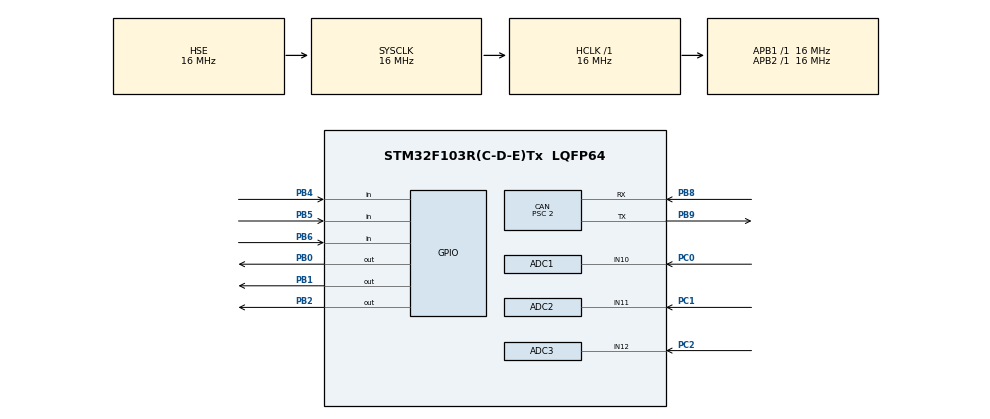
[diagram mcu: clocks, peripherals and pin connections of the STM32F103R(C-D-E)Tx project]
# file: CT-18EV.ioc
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ADC1.Channel-0\#ChannelRegularConversion=ADC_CHANNEL_10
ADC1.Mode=ADC_DUALMODE_REGSIMULT
ADC1.NbrOfConversionFlag=1
ADC1.Rank-0\#ChannelRegularConversion=1
ADC1.SamplingTime-0\#ChannelRegularConversion=ADC_SAMPLETIME_55CYCLES_5
ADC1.master=1
ADC2.Channel-0\#ChannelRegularConversion=ADC_CHANNEL_11
ADC2.Mode=ADC_DUALMODE_REGSIMULT
ADC2.NbrOfConversionFlag=1
ADC2.Rank-0\#ChannelRegularConversion=1
ADC2.SamplingTime-0\#ChannelRegularConversion=ADC_SAMPLETIME_55CYCLES_5
ADC3.Channel-0\#ChannelRegularConversion=ADC_CHANNEL_12
ADC3.NbrOfConversion=1
ADC3.NbrOfConversionFlag=1
ADC3.Rank-0\#ChannelRegularConversion=1
ADC3.SamplingTime-0\#ChannelRegularConversion=ADC_SAMPLETIME_55CYCLES_5
CAN.ABOM=ENABLE
CAN.AWUM=ENABLE
CAN.BS1=CAN_BS1_13TQ
CAN.BS2=CAN_BS2_2TQ
CAN.CalculateBaudRate=500000
CAN.CalculateTimeBit=2000
CAN.CalculateTimeQuantum=125.0
CAN.Prescaler=2
Dma.ADC1.0.Direction=DMA_PERIPH_TO_MEMORY
Dma.ADC1.0.Instance=DMA1_Channel1
Dma.ADC1.0.MemDataAlignment=DMA_MDATAALIGN_WORD
Dma.ADC1.0.MemInc=DMA_MINC_ENABLE
Dma.ADC1.0.Mode=DMA_NORMAL
Dma.ADC1.0.PeriphDataAlignment=DMA_PDATAALIGN_WORD
Dma.ADC1.0.PeriphInc=DMA_PINC_DISABLE
Dma.ADC1.0.Priority=DMA_PRIORITY_LOW
Dma.ADC3.1.Direction=DMA_PERIPH_TO_MEMORY
Dma.ADC3.1.Instance=DMA2_Channel5
Dma.ADC3.1.MemDataAlignment=DMA_MDATAALIGN_HALFWORD
Dma.ADC3.1.MemInc=DMA_MINC_ENABLE
Dma.ADC3.1.Mode=DMA_NORMAL
Dma.ADC3.1.PeriphDataAlignment=DMA_PDATAALIGN_HALFWORD
Dma.ADC3.1.PeriphInc=DMA_PINC_DISABLE
Dma.ADC3.1.Priority=DMA_PRIORITY_LOW
Dma.Request0=ADC1
Dma.Request1=ADC3
IWDG.Prescaler=IWDG_PRESCALER_32
IWDG.Reload=125
Mcu.Family=STM32F1
Mcu.Name=STM32F103R(C-D-E)Tx
Mcu.Package=LQFP64
NVIC.DMA1_Channel1_IRQn=true\:0\:0\:false\:false\:true\:false\:true\:true
NVIC.DMA2_Channel4_5_IRQn=true\:0\:0\:false\:false\:true\:false\:true\:true
NVIC.PriorityGroup=NVIC_PRIORITYGROUP_4
NVIC.TIM2_IRQn=true\:0\:0\:false\:false\:true\:true\:true\:true
NVIC.TIM3_IRQn=true\:0\:0\:false\:false\:true\:true\:true\:true
NVIC.USB_LP_CAN1_RX0_IRQn=true\:0\:0\:false\:false\:true\:true\:true\:true
PA13.Mode=Serial_Wire
PA13.Signal=SYS_JTMS-SWDIO
PA14.Mode=Serial_Wire
PA14.Signal=SYS_JTCK-SWCLK
PB0.GPIO_PuPd=GPIO_PULLDOWN
PB0.Signal=GPIO_Output
PB1.Signal=GPIO_Output
PB2.Signal=GPIO_Output
PB4.Signal=GPIO_Input
PB5.Signal=GPIO_Input
PB6.Signal=GPIO_Input
PB8.Mode=CAN_Activate
PB8.Signal=CAN_RX
PB9.Mode=CAN_Activate
PB9.Signal=CAN_TX
PC0.Signal=ADCx_IN10
PC1.Signal=ADCx_IN11
PC2.Signal=ADCx_IN12
PD0-OSC_IN.Mode=HSE-External-Oscillator
PD0-OSC_IN.Signal=RCC_OSC_IN
PD1-OSC_OUT.Mode=HSE-External-Oscillator
PD1-OSC_OUT.Signal=RCC_OSC_OUT
ProjectManager.HeapSize=0x200
ProjectManager.StackSize=0x400
ProjectManager.TargetToolchain=STM32CubeIDE
RCC.AHBFreq_Value=16000000
RCC.APB1Freq_Value=16000000
RCC.APB1TimFreq_Value=16000000
RCC.APB2Freq_Value=16000000
RCC.APB2TimFreq_Value=16000000
RCC.HCLKFreq_Value=16000000
RCC.HSE_VALUE=16000000
RCC.PLLMUL=RCC_PLL_MUL3
RCC.SYSCLKFreq_VALUE=16000000
RCC.SYSCLKSource=RCC_SYSCLKSOURCE_HSE
RCC.USBFreq_Value=12000000
SH.ADCx_IN10.0=ADC1_IN10,IN10
SH.ADCx_IN11.0=ADC2_IN11,IN11
SH.ADCx_IN12.0=ADC3_IN12,IN12
TIM2.ClockDivision=TIM_CLOCKDIVISION_DIV1
TIM2.Period=4999
TIM2.Prescaler=15
TIM3.ClockDivision=TIM_CLOCKDIVISION_DIV1
TIM3.Period=14399
TIM3.Prescaler=99
VP_IWDG_VS_IWDG.Mode=IWDG_Activate
VP_TIM2_VS_ClockSourceINT.Mode=Internal
VP_TIM3_VS_ClockSourceINT.Mode=Internal
board=custom

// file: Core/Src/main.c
/* USER CODE BEGIN Header */
/**
 ******************************************************************************
 * @file           : main.c
 * @brief          : Main program body
 ******************************************************************************
 * @attention
 *
 * Copyright (c) 2024 STMicroelectronics.
 * All rights reserved.
 *
 * This software is licensed under terms that can be found in the LICENSE file
 * in the root directory of this software component.
 * If no LICENSE file comes with this software, it is provided AS-IS.
 *
 ******************************************************************************
 */
/* USER CODE END Header */
#include "main.h"

/* USER CODE BEGIN Includes */
#include <math.h>

#include "config.h"
#include "pinout.h"
#include "adc.h"
#include "can_tx.h"
#include "rtd.h"
#include "assists/launch_control.h"
#include "regen.h"
#include "soc_kf.h"
#include "soc_derate.h"
#include "control.h"
#include "version.h"

#include "sensors/aim_accelerometer.h"
#include "sensors/resolver_feedback.h"
#include "sensors/speed_encoder.h"
/* USER CODE END Includes */

ADC_HandleTypeDef hadc1;
ADC_HandleTypeDef hadc2;
ADC_HandleTypeDef hadc3;
DMA_HandleTypeDef hdma_adc1;
DMA_HandleTypeDef hdma_adc3;

CAN_HandleTypeDef hcan;

IWDG_HandleTypeDef hiwdg;

TIM_HandleTypeDef htim2;
TIM_HandleTypeDef htim3;

void SystemClock_Config(void);
static void MX_GPIO_Init(void);
static void MX_DMA_Init(void);
static void MX_ADC1_Init(void);
static void MX_CAN_Init(void);
static void MX_TIM2_Init(void);
static void MX_TIM3_Init(void);
static void MX_ADC2_Init(void);
static void MX_ADC3_Init(void);
static void MX_IWDG_Init(void);

/* USER CODE BEGIN 0 */
#define CAP(v, hi)       (((v) > (hi)) ? (hi) : (v))
#define CLAMP(v, lo, hi) (((v) < (lo)) ? (lo) : CAP(v, hi))

CAN_RxHeaderTypeDef RxHeader;
uint8_t RxData[8];

volatile uint32_t motor_speed = 0;
volatile uint32_t motor_speed_tick = 0;
volatile uint32_t current_limit = CURRENT_LIMIT_DEFAULT_A;
volatile uint32_t bms_dcl = CURRENT_LIMIT_DEFAULT_A;
volatile uint8_t inverter_enabled = 0;
volatile uint8_t inverter_lockout = 1;
volatile uint8_t control_ready = 0;
volatile uint8_t print_ready = 0;
volatile uint8_t ready_to_drive = 0;
volatile uint16_t rtd_timeout = RTD_TIMEOUT_INIT;
volatile uint8_t rtd_buzzer_counter = 0;

volatile uint32_t bus_voltage = BUS_VOLTAGE_DEFAULT_V;
volatile uint8_t inv_message = 0;
volatile uint16_t ext_frame_count = 0;

/* Worst control loop period (ms) */
volatile uint32_t loop_dt_max_ms = 0;

static uint8_t lc_was_enabled = 0;
static control_t ctrl;
static uint8_t reset_cause = 0;

/* Sensors */
aim_accelerometer_t aim_accelerometer;
resolver_feedback_t resolver_feedback;
speed_encoder_t encoder_left;
speed_encoder_t encoder_right;

static uint8_t read_reset_cause(void) {
	uint8_t cause = 0;
	if (__HAL_RCC_GET_FLAG(RCC_FLAG_PINRST)) {
		cause |= RESET_CAUSE_PIN;
	}
	if (__HAL_RCC_GET_FLAG(RCC_FLAG_PORRST)) {
		cause |= RESET_CAUSE_POR;
	}
	if (__HAL_RCC_GET_FLAG(RCC_FLAG_SFTRST)) {
		cause |= RESET_CAUSE_SOFT;
	}
	if (__HAL_RCC_GET_FLAG(RCC_FLAG_IWDGRST)) {
		cause |= RESET_CAUSE_IWDG;
	}
	/* Flags are sticky until cleared, so the next reset reads fresh */
	__HAL_RCC_CLEAR_RESET_FLAGS();
	return cause;
}

void HAL_CAN_RxFifo0MsgPendingCallback(CAN_HandleTypeDef *hcan) {
	RxHeader.StdId = 0;
	if (HAL_CAN_GetRxMessage(hcan, CAN_RX_FIFO0, &RxHeader, RxData) != HAL_OK) {
		return;
	}
	if (RxHeader.IDE != CAN_ID_STD) {
		ext_frame_count++;
		return;
	}

	if (RxHeader.StdId == CAN_ID_RX_INVERTER_STATE) {
		inverter_enabled = RxData[6] & 0x01;
		inverter_lockout = (RxData[6] >> 7) & 0x01;
		uint8_t ready_pin_state = (RxData[3] >> 1) & 0x01;
		inv_message = RxData[6];
		if (ready_pin_state) {
			rtd_timeout = 0;
		}
	} else if (RxHeader.StdId == CAN_ID_RX_MOTOR_SPEED) {
		int16_t motor_speed_raw = (int16_t) (uint16_t) (RxData[3] << 8
				| RxData[2]);

		resolver_feedback_feed(&resolver_feedback, motor_speed_raw);
		motor_speed = (motor_speed_raw > 0) ? (uint32_t) motor_speed_raw : 0u;
		motor_speed_tick = HAL_GetTick();
	} else if (RxHeader.StdId == CAN_ID_RX_BMS_DCL) {
		uint16_t dcl_raw = (uint16_t) (RxData[1] << 8 | RxData[0]);
		bms_dcl = (dcl_raw > 3u) ? (uint32_t) (dcl_raw - 3u) : 0u;
	} else if (RxHeader.StdId == CAN_ID_RX_BMS_STATUS) {
		bus_voltage = (RxData[5] << 8 | RxData[4]);
		soc_kf_feed_bms((int16_t) (uint16_t) (RxData[7] << 8 | RxData[6]),
				(uint16_t) (RxData[5] << 8 | RxData[4]), RxData[2], RxData[1],
				HAL_GetTick());
	} else if (RxHeader.StdId == CAN_ID_RX_BMS_CELL) {
		soc_derate_feed_cells((uint16_t) (RxData[5] << 8 | RxData[4]),
				(uint16_t) (RxData[7] << 8 | RxData[6]), HAL_GetTick());
	} else if (RxHeader.StdId == LC_AIM_WHEEL_SPEED_CAN_ID) {
		uint16_t fl_speed = RxData[1] << 8 | RxData[0];
		lc_feed_wheel_speed(fl_speed);
	} else if (RxHeader.StdId == SENSOR_AIM_ACCEL_CAN_ID) {
		int16_t raw_accel_x = (int16_t)((RxData[1] << 8 | RxData[0]));
		int16_t raw_accel_y = (int16_t)((RxData[3] << 8 | RxData[2]));
		int16_t raw_accel_z = (int16_t)((RxData[5] << 8 | RxData[4]));

		aim_accelerometer_feed(&aim_accelerometer, raw_accel_x, raw_accel_y, raw_accel_z);
	}
}

void HAL_TIM_PeriodElapsedCallback(TIM_HandleTypeDef *htim) {
	if (htim->Instance == TIM2) {
		control_ready = 1;
	} else if (htim->Instance == TIM3) {
		print_ready = 1;
		if (ready_to_drive && rtd_buzzer_counter < RTD_BUZZER_COUNTER_MAX) {
			rtd_buzzer_counter += 1;
		}
		rtd_timeout += 1;
		rtd_timeout = CAP(rtd_timeout, RTD_TIMEOUT_MAX);
	}
}

/* USER CODE END 0 */

int main(void)
{

  /* USER CODE BEGIN 1 */
	for (uint32_t i = 0; i < sizeof(RxData); i++) {
		RxData[i] = 0;
	}
	reset_cause = read_reset_cause();
  /* USER CODE END 1 */

  /* MCU Configuration--------------------------------------------------------*/

  /* Reset of all peripherals, Initializes the Flash interface and the Systick. */
  HAL_Init();

  /* Configure the system clock */
  SystemClock_Config();

  /* Initialize all configured peripherals */
  MX_GPIO_Init();
  MX_DMA_Init();
  MX_ADC1_Init();
  MX_CAN_Init();
  MX_TIM2_Init();
  MX_TIM3_Init();
  MX_ADC2_Init();
  MX_ADC3_Init();
  /* USER CODE BEGIN 2 */
	uint8_t TxData[8];
	/* Bank 1 held 0x0B1 (dynamic torque limit); nothing decodes it. */
	CAN_FilterTypeDef canfilterconfig;

	canfilterconfig.FilterActivation = CAN_FILTER_ENABLE;
	canfilterconfig.FilterBank = 2; /* Inverter state */
	canfilterconfig.FilterFIFOAssignment = CAN_RX_FIFO0;
	canfilterconfig.FilterIdHigh = CAN_ID_RX_INVERTER_STATE << 5;
	canfilterconfig.FilterIdLow = 0;
	canfilterconfig.FilterMaskIdHigh = CAN_STID_MASK_HIGH;
	canfilterconfig.FilterMaskIdLow = CAN_STID_MASK_LOW;
	canfilterconfig.FilterMode = CAN_FILTERMODE_IDMASK;
	canfilterconfig.FilterScale = CAN_FILTERSCALE_32BIT;
	HAL_CAN_ConfigFilter(&hcan, &canfilterconfig);

	canfilterconfig.FilterActivation = CAN_FILTER_ENABLE;
	canfilterconfig.FilterBank = 3; /* Motor speed */
	canfilterconfig.FilterFIFOAssignment = CAN_RX_FIFO0;
	canfilterconfig.FilterIdHigh = CAN_ID_RX_MOTOR_SPEED << 5;
	canfilterconfig.FilterIdLow = 0;
	canfilterconfig.FilterMaskIdHigh = CAN_STID_MASK_HIGH;
	canfilterconfig.FilterMaskIdLow = CAN_STID_MASK_LOW;
	canfilterconfig.FilterMode = CAN_FILTERMODE_IDMASK;
	canfilterconfig.FilterScale = CAN_FILTERSCALE_32BIT;
	HAL_CAN_ConfigFilter(&hcan, &canfilterconfig);

	canfilterconfig.FilterActivation = CAN_FILTER_ENABLE;
	canfilterconfig.FilterBank = 4; /* BMS current limit */
	canfilterconfig.FilterFIFOAssignment = CAN_RX_FIFO0;
	canfilterconfig.FilterIdHigh = CAN_ID_RX_BMS_DCL << 5;
	canfilterconfig.FilterIdLow = 0;
	canfilterconfig.FilterMaskIdHigh = CAN_STID_MASK_HIGH;
	canfilterconfig.FilterMaskIdLow = CAN_STID_MASK_LOW;
	canfilterconfig.FilterMode = CAN_FILTERMODE_IDMASK;
	canfilterconfig.FilterScale = CAN_FILTERSCALE_32BIT;
	HAL_CAN_ConfigFilter(&hcan, &canfilterconfig);

	canfilterconfig.FilterActivation = CAN_FILTER_ENABLE;
	canfilterconfig.FilterBank = 5; /* BMS status */
	canfilterconfig.FilterFIFOAssignment = CAN_RX_FIFO0;
	canfilterconfig.FilterIdHigh = CAN_ID_RX_BMS_STATUS << 5;
	canfilterconfig.FilterIdLow = 0;
	canfilterconfig.FilterMaskIdHigh = CAN_STID_MASK_HIGH;
	canfilterconfig.FilterMaskIdLow = CAN_STID_MASK_LOW;
	canfilterconfig.FilterMode = CAN_FILTERMODE_IDMASK;
	canfilterconfig.FilterScale = CAN_FILTERSCALE_32BIT;
	HAL_CAN_ConfigFilter(&hcan, &canfilterconfig);

	canfilterconfig.FilterActivation = CAN_FILTER_ENABLE;
	canfilterconfig.FilterBank = 6; /* Front wheel speed */
	canfilterconfig.FilterFIFOAssignment = CAN_RX_FIFO0;
	canfilterconfig.FilterIdHigh = LC_AIM_WHEEL_SPEED_CAN_ID << 5;
	canfilterconfig.FilterIdLow = 0;
	canfilterconfig.FilterMaskIdHigh = CAN_STID_MASK_HIGH;
	canfilterconfig.FilterMaskIdLow = CAN_STID_MASK_LOW;
	canfilterconfig.FilterMode = CAN_FILTERMODE_IDMASK;
	canfilterconfig.FilterScale = CAN_FILTERSCALE_32BIT;
	HAL_CAN_ConfigFilter(&hcan, &canfilterconfig);

	canfilterconfig.FilterActivation = CAN_FILTER_ENABLE;
	canfilterconfig.FilterBank = 7; /* BMS low cell */
	canfilterconfig.FilterFIFOAssignment = CAN_RX_FIFO0;
	canfilterconfig.FilterIdHigh = CAN_ID_RX_BMS_CELL << 5;
	canfilterconfig.FilterIdLow = 0;
	canfilterconfig.FilterMaskIdHigh = CAN_STID_MASK_HIGH;
	canfilterconfig.FilterMaskIdLow = CAN_STID_MASK_LOW;
	canfilterconfig.FilterMode = CAN_FILTERMODE_IDMASK;
	canfilterconfig.FilterScale = CAN_FILTERSCALE_32BIT;
	HAL_CAN_ConfigFilter(&hcan, &canfilterconfig);

	canfilterconfig.FilterActivation = CAN_FILTER_ENABLE;
	canfilterconfig.FilterBank = 8; /* AiM Accelerometer */
	canfilterconfig.FilterFIFOAssignment = CAN_RX_FIFO0;
	canfilterconfig.FilterIdHigh = SENSOR_AIM_ACCEL_CAN_ID << 5;
	canfilterconfig.FilterIdLow = 0;
	canfilterconfig.FilterMaskIdHigh = CAN_STID_MASK_HIGH;
	canfilterconfig.FilterMaskIdLow = CAN_STID_MASK_LOW;
	canfilterconfig.FilterMode = CAN_FILTERMODE_IDMASK;
	canfilterconfig.FilterScale = CAN_FILTERSCALE_32BIT;
	HAL_CAN_ConfigFilter(&hcan, &canfilterconfig);

	HAL_CAN_Start(&hcan);

	if (HAL_CAN_ActivateNotification(&hcan, CAN_IT_RX_FIFO0_MSG_PENDING)
			!= HAL_OK) {
		Error_Handler();
	}

	lc_init();
	adc_init();
	rtd_init();
	can_tx_init();
#if REGEN_ENABLE
	regen_init();
#endif
	soc_kf_init();
	soc_derate_init();
	control_init(&ctrl);

	aim_accelerometer_init(&aim_accelerometer);
	resolver_feedback_init(&resolver_feedback);
	speed_encoder_init(&encoder_left);
	speed_encoder_init(&encoder_right);

  /* USER CODE END 2 */

  /* Infinite loop */
  /* USER CODE BEGIN WHILE */

	float tps_combined = 0;
	float bps = 0;
	int32_t torque_request = 0;
	uint8_t heartbeat_counter = 0;
	uint32_t tps1_adc = 0;
	uint32_t tps2_adc = 0;
	uint32_t bps_adc = 0;
	uint8_t brake_pressed = 0;
	uint8_t bse_error = 0;
	uint8_t should_disable_inverter = 0;

	HAL_TIM_Base_Start_IT(&htim2);
	HAL_TIM_Base_Start_IT(&htim3);

	/* Started last so init time doesn't count against the timeout */
	MX_IWDG_Init();

	uint8_t rtd_raw = 0;
	uint32_t last_loop_tick = HAL_GetTick();
	uint32_t version_tick = last_loop_tick - VERSION_TX_MS;
	uint32_t bps_tick = last_loop_tick;

	while (1) {
		can_tx_pump();

		if (!control_ready) {
			continue;
		}
		control_ready = 0;

		const uint32_t loop_tick = HAL_GetTick();
		const uint32_t loop_dt_ms = loop_tick - last_loop_tick;
		last_loop_tick = loop_tick;
		if (loop_dt_ms > loop_dt_max_ms) {
			loop_dt_max_ms = loop_dt_ms;
		}

		adc_update();
		tps1_adc = adc_tps1();
		tps2_adc = adc_tps2();
		bps_adc = adc_bps();

		const control_pedals_t pedals = control_pedals(&ctrl,
				(float) tps1_adc * ADC_TPS_V_PER_COUNT,
				(float) tps2_adc * ADC_TPS_V_PER_COUNT);
		tps_combined = pedals.tps;

		bps = (float) bps_adc * ADC_BPS_V_PER_COUNT;
		/* A shorted sensor must not count as braking for the RTD interlock */
		const uint8_t bps_oor = control_bps_oor(bps);
		brake_pressed = bps > BPS_SETPOINT_V && !bps_oor;

		rtd_raw = (HAL_GPIO_ReadPin(PIN_RTD_BUTTON_PORT, PIN_RTD_BUTTON)
				== PIN_RTD_BUTTON_ACTIVE);
		rtd_raw &= brake_pressed;

		if (rtd_debounce_update(rtd_raw, loop_dt_ms)) {
			ready_to_drive = 1;
		}

		ready_to_drive &= rtd_timeout < RTD_TIMEOUT_TICKS;

		HAL_GPIO_WritePin(PIN_RTD_LIGHT_PORT, PIN_RTD_LIGHT, ready_to_drive);

		if (ready_to_drive == 0) {
			rtd_buzzer_counter = 0;
		} else {
			if (rtd_buzzer_counter < RTD_BUZZER_TICKS) {
				HAL_GPIO_WritePin(PIN_RTD_BUZZER_PORT, PIN_RTD_BUZZER,
						GPIO_PIN_SET);
			} else {
				HAL_GPIO_WritePin(PIN_RTD_BUZZER_PORT, PIN_RTD_BUZZER,
						GPIO_PIN_RESET);
			}
		}

		bse_error = control_bse(&ctrl, brake_pressed, tps_combined);

		const uint8_t fault = pedals.tps1_oor || pedals.tps2_oor
				|| pedals.tps_disagree || bse_error || bps_oor;
		should_disable_inverter = control_fault_debounce(&ctrl, fault,
				loop_dt_ms) || !ready_to_drive;

		const soc_kf_debug_t *kf = soc_kf_get_debug();
		current_limit = soc_derate_dcl(kf, bms_dcl, loop_tick, loop_dt_ms);

		aim_accelerometer_upkeep(&aim_accelerometer);
		resolver_feedback_upkeep(&resolver_feedback);
		speed_encoder_upkeep(&encoder_left);
		speed_encoder_upkeep(&encoder_right);

		torque_request = control_torque_limit(control_torque_map(tps_combined),
				motor_speed, current_limit);

#if REGEN_ENABLE
		const uint8_t speed_stale = (int32_t) (loop_tick - motor_speed_tick)
				> (int32_t) MOTOR_SPEED_TIMEOUT_MS;
		const uint8_t regen_cut = brake_pressed || fault
				|| should_disable_inverter || speed_stale
				|| launch_control_enable;
		torque_request = regen_update(torque_request, motor_speed, tps_combined,
				kf, regen_cut, loop_dt_ms);
#endif

		lc_feed_tick(HAL_GetTick());
		if (launch_control_enable) {
			torque_request = lc_update(torque_request, motor_speed,
					tps_combined);
			lc_was_enabled = 1;
		} else if (lc_was_enabled) {
			lc_init();
			lc_was_enabled = 0;
		}

		if (should_disable_inverter) {
			torque_request = 0;
		}

		control_pack_inverter(TxData, torque_request, inverter_lockout,
				should_disable_inverter, heartbeat_counter);
		can_tx_send(CAN_ID_TX_INVERTER_CMD, TxData, 8);
		heartbeat_counter += 1;
		heartbeat_counter = heartbeat_counter & CAN_HEARTBEAT_MASK;

		if (loop_tick - version_tick >= VERSION_TX_MS) {
			version_pack(TxData);
			can_tx_send(VERSION_CAN_ID, TxData, VERSION_DLC);
			version_tick = loop_tick;
		}

		if (loop_tick - bps_tick >= BPS_TX_MS) {
			control_pack_bps(TxData, control_bps_psi(bps), (uint16_t) bps_adc,
					brake_pressed, bps_oor);
			can_tx_send(CAN_ID_TX_BPS, TxData, CAN_BPS_DLC);
			bps_tick = loop_tick;
		}

		if (print_ready) {
			const control_status_t status = {
				.rtd_timeout = (uint8_t) (rtd_timeout & 0xFF),
				.bps_adc = bps_adc,
				.tps1_adc = tps1_adc,
				.tps2_adc = tps2_adc,
				.pedals = pedals,
				.bse = bse_error,
				.ready_to_drive = ready_to_drive,
				.disable = should_disable_inverter,
				.inverter_enabled = inverter_enabled,
				.inverter_lockout = inverter_lockout,
			};
			control_pack_debug(TxData, &status);
			can_tx_send(CAN_ID_TX_DEBUG, TxData, 8);

			TxData[0] = (ready_to_drive) & 0x01;
			TxData[1] = reset_cause;

			can_tx_send(CAN_ID_TX_RTD, TxData, 2);

			soc_kf_update(HAL_GetTick());
			{
				uint8_t kfData[8];
				soc_kf_pack_state(kfData);
				kfData[7] = (uint8_t)CAP(loop_dt_max_ms, 255u);
				can_tx_send(SOC_KF_CAN_ID_STATE, kfData, 8);
			}

			soc_derate_pack_debug(TxData);
			can_tx_send(SOC_DERATE_CAN_ID, TxData, 8);

#if REGEN_ENABLE
			regen_pack_debug(TxData);
			can_tx_send(REGEN_DEBUG_CAN_ID, TxData, REGEN_DEBUG_DLC);
#endif

			print_ready = 0;
		}

		/* Only a finished control step feeds the dog */
		HAL_IWDG_Refresh(&hiwdg);

    /* USER CODE END WHILE */

	}
}

void SystemClock_Config(void)
{
  RCC_OscInitTypeDef RCC_OscInitStruct = {0};
  RCC_ClkInitTypeDef RCC_ClkInitStruct = {0};
  RCC_PeriphCLKInitTypeDef PeriphClkInit = {0};

  /** Initializes the RCC Oscillators according to the specified parameters
  * in the RCC_OscInitTypeDef structure.
  */
  RCC_OscInitStruct.OscillatorType = RCC_OSCILLATORTYPE_LSI|RCC_OSCILLATORTYPE_HSE;
  RCC_OscInitStruct.HSEState = RCC_HSE_ON;
  RCC_OscInitStruct.LSIState = RCC_LSI_ON;
  RCC_OscInitStruct.PLL.PLLState = RCC_PLL_NONE;
  if (HAL_RCC_OscConfig(&RCC_OscInitStruct) != HAL_OK)
  {
    Error_Handler();
  }

  /** Initializes the CPU, AHB and APB buses clocks
  */
  RCC_ClkInitStruct.ClockType = RCC_CLOCKTYPE_HCLK|RCC_CLOCKTYPE_SYSCLK
                              |RCC_CLOCKTYPE_PCLK1|RCC_CLOCKTYPE_PCLK2;
  RCC_ClkInitStruct.SYSCLKSource = RCC_SYSCLKSOURCE_HSE;
  RCC_ClkInitStruct.AHBCLKDivider = RCC_SYSCLK_DIV1;
  RCC_ClkInitStruct.APB1CLKDivider = RCC_HCLK_DIV1;
  RCC_ClkInitStruct.APB2CLKDivider = RCC_HCLK_DIV1;

  if (HAL_RCC_ClockConfig(&RCC_ClkInitStruct, FLASH_LATENCY_0) != HAL_OK)
  {
    Error_Handler();
  }
  PeriphClkInit.PeriphClockSelection = RCC_PERIPHCLK_ADC;
  PeriphClkInit.AdcClockSelection = RCC_ADCPCLK2_DIV2;
  if (HAL_RCCEx_PeriphCLKConfig(&PeriphClkInit) != HAL_OK)
  {
    Error_Handler();
  }
}

static void MX_ADC1_Init(void)
{

  ADC_MultiModeTypeDef multimode = {0};
  ADC_ChannelConfTypeDef sConfig = {0};

  /** Common config
  */
  hadc1.Instance = ADC1;
  hadc1.Init.ScanConvMode = ADC_SCAN_DISABLE;
  hadc1.Init.ContinuousConvMode = DISABLE;
  hadc1.Init.DiscontinuousConvMode = DISABLE;
  hadc1.Init.ExternalTrigConv = ADC_SOFTWARE_START;
  hadc1.Init.DataAlign = ADC_DATAALIGN_RIGHT;
  hadc1.Init.NbrOfConversion = 1;
  if (HAL_ADC_Init(&hadc1) != HAL_OK)
  {
    Error_Handler();
  }

  /** Configure the ADC multi-mode
  */
  multimode.Mode = ADC_DUALMODE_REGSIMULT;
  if (HAL_ADCEx_MultiModeConfigChannel(&hadc1, &multimode) != HAL_OK)
  {
    Error_Handler();
  }

  /** Configure Regular Channel
  */
  sConfig.Channel = ADC_CHANNEL_10;
  sConfig.Rank = ADC_REGULAR_RANK_1;
  sConfig.SamplingTime = ADC_SAMPLETIME_55CYCLES_5;
  if (HAL_ADC_ConfigChannel(&hadc1, &sConfig) != HAL_OK)
  {
    Error_Handler();
  }

}

static void MX_ADC2_Init(void)
{

  ADC_ChannelConfTypeDef sConfig = {0};

  /** Common config
  */
  hadc2.Instance = ADC2;
  hadc2.Init.ScanConvMode = ADC_SCAN_DISABLE;
  hadc2.Init.ContinuousConvMode = DISABLE;
  hadc2.Init.DiscontinuousConvMode = DISABLE;
  hadc2.Init.ExternalTrigConv = ADC_SOFTWARE_START;
  hadc2.Init.DataAlign = ADC_DATAALIGN_RIGHT;
  hadc2.Init.NbrOfConversion = 1;
  if (HAL_ADC_Init(&hadc2) != HAL_OK)
  {
    Error_Handler();
  }

  /** Configure Regular Channel
  */
  sConfig.Channel = ADC_CHANNEL_11;
  sConfig.Rank = ADC_REGULAR_RANK_1;
  sConfig.SamplingTime = ADC_SAMPLETIME_55CYCLES_5;
  if (HAL_ADC_ConfigChannel(&hadc2, &sConfig) != HAL_OK)
  {
    Error_Handler();
  }

}

static void MX_ADC3_Init(void)
{

  ADC_ChannelConfTypeDef sConfig = {0};

  /** Common config
  */
  hadc3.Instance = ADC3;
  hadc3.Init.ScanConvMode = ADC_SCAN_DISABLE;
  hadc3.Init.ContinuousConvMode = DISABLE;
  hadc3.Init.DiscontinuousConvMode = DISABLE;
  hadc3.Init.ExternalTrigConv = ADC_SOFTWARE_START;
  hadc3.Init.DataAlign = ADC_DATAALIGN_RIGHT;
  hadc3.Init.NbrOfConversion = 1;
  if (HAL_ADC_Init(&hadc3) != HAL_OK)
  {
    Error_Handler();
  }

  /** Configure Regular Channel
  */
  sConfig.Channel = ADC_CHANNEL_12;
  sConfig.Rank = ADC_REGULAR_RANK_1;
  sConfig.SamplingTime = ADC_SAMPLETIME_55CYCLES_5;
  if (HAL_ADC_ConfigChannel(&hadc3, &sConfig) != HAL_OK)
  {
    Error_Handler();
  }

}

static void MX_CAN_Init(void)
{

  hcan.Instance = CAN1;
  hcan.Init.Prescaler = 2;
  hcan.Init.Mode = CAN_MODE_NORMAL;
  hcan.Init.SyncJumpWidth = CAN_SJW_1TQ;
  hcan.Init.TimeSeg1 = CAN_BS1_13TQ;
  hcan.Init.TimeSeg2 = CAN_BS2_2TQ;
  hcan.Init.TimeTriggeredMode = DISABLE;
  hcan.Init.AutoBusOff = ENABLE;
  hcan.Init.AutoWakeUp = ENABLE;
  hcan.Init.AutoRetransmission = DISABLE;
  hcan.Init.ReceiveFifoLocked = DISABLE;
  hcan.Init.TransmitFifoPriority = DISABLE;
  if (HAL_CAN_Init(&hcan) != HAL_OK)
  {
    Error_Handler();
  }

}

static void MX_IWDG_Init(void)
{

  /* USER CODE BEGIN IWDG_Init 1 */
	/* LSI 40 kHz / 32 * 125 = 100 ms, 67-133 ms over LSI tolerance */
	/* Hold the dog while the debugger has the core halted */
	__HAL_DBGMCU_FREEZE_IWDG();
  /* USER CODE END IWDG_Init 1 */
  hiwdg.Instance = IWDG;
  hiwdg.Init.Prescaler = IWDG_PRESCALER_32;
  hiwdg.Init.Reload = 125;
  if (HAL_IWDG_Init(&hiwdg) != HAL_OK)
  {
    Error_Handler();
  }

}

static void MX_TIM2_Init(void)
{

  TIM_ClockConfigTypeDef sClockSourceConfig = {0};
  TIM_MasterConfigTypeDef sMasterConfig = {0};

  htim2.Instance = TIM2;
  htim2.Init.Prescaler = 15;
  htim2.Init.CounterMode = TIM_COUNTERMODE_UP;
  htim2.Init.Period = 4999;
  htim2.Init.ClockDivision = TIM_CLOCKDIVISION_DIV1;
  htim2.Init.AutoReloadPreload = TIM_AUTORELOAD_PRELOAD_DISABLE;
  if (HAL_TIM_Base_Init(&htim2) != HAL_OK)
  {
    Error_Handler();
  }
  sClockSourceConfig.ClockSource = TIM_CLOCKSOURCE_INTERNAL;
  if (HAL_TIM_ConfigClockSource(&htim2, &sClockSourceConfig) != HAL_OK)
  {
    Error_Handler();
  }
  sMasterConfig.MasterOutputTrigger = TIM_TRGO_RESET;
  sMasterConfig.MasterSlaveMode = TIM_MASTERSLAVEMODE_DISABLE;
  if (HAL_TIMEx_MasterConfigSynchronization(&htim2, &sMasterConfig) != HAL_OK)
  {
    Error_Handler();
  }

}

static void MX_TIM3_Init(void)
{

  TIM_ClockConfigTypeDef sClockSourceConfig = {0};
  TIM_MasterConfigTypeDef sMasterConfig = {0};

  htim3.Instance = TIM3;
  htim3.Init.Prescaler = 99;
  htim3.Init.CounterMode = TIM_COUNTERMODE_UP;
  htim3.Init.Period = 14399;
  htim3.Init.ClockDivision = TIM_CLOCKDIVISION_DIV1;
  htim3.Init.AutoReloadPreload = TIM_AUTORELOAD_PRELOAD_DISABLE;
  if (HAL_TIM_Base_Init(&htim3) != HAL_OK)
  {
    Error_Handler();
  }
  sClockSourceConfig.ClockSource = TIM_CLOCKSOURCE_INTERNAL;
  if (HAL_TIM_ConfigClockSource(&htim3, &sClockSourceConfig) != HAL_OK)
  {
    Error_Handler();
  }
  sMasterConfig.MasterOutputTrigger = TIM_TRGO_RESET;
  sMasterConfig.MasterSlaveMode = TIM_MASTERSLAVEMODE_DISABLE;
  if (HAL_TIMEx_MasterConfigSynchronization(&htim3, &sMasterConfig) != HAL_OK)
  {
    Error_Handler();
  }

}

static void MX_DMA_Init(void)
{

  /* DMA controller clock enable */
  __HAL_RCC_DMA1_CLK_ENABLE();
  __HAL_RCC_DMA2_CLK_ENABLE();

  /* DMA interrupt init */
  /* DMA1_Channel1_IRQn interrupt configuration */
  HAL_NVIC_SetPriority(DMA1_Channel1_IRQn, 0, 0);
  HAL_NVIC_EnableIRQ(DMA1_Channel1_IRQn);
  /* DMA2_Channel4_5_IRQn interrupt configuration */
  HAL_NVIC_SetPriority(DMA2_Channel4_5_IRQn, 0, 0);
  HAL_NVIC_EnableIRQ(DMA2_Channel4_5_IRQn);

}

static void MX_GPIO_Init(void)
{
  GPIO_InitTypeDef GPIO_InitStruct = {0};

  /* GPIO Ports Clock Enable */
  __HAL_RCC_GPIOD_CLK_ENABLE();
  __HAL_RCC_GPIOC_CLK_ENABLE();
  __HAL_RCC_GPIOB_CLK_ENABLE();
  __HAL_RCC_GPIOA_CLK_ENABLE();

  /*Configure GPIO pin Output Level */
  HAL_GPIO_WritePin(GPIOB, GPIO_PIN_0|GPIO_PIN_1|GPIO_PIN_2, GPIO_PIN_RESET);

  /*Configure GPIO pin : PB0 */
  GPIO_InitStruct.Pin = GPIO_PIN_0;
  GPIO_InitStruct.Mode = GPIO_MODE_OUTPUT_PP;
  GPIO_InitStruct.Pull = GPIO_PULLDOWN;
  GPIO_InitStruct.Speed = GPIO_SPEED_FREQ_LOW;
  HAL_GPIO_Init(GPIOB, &GPIO_InitStruct);

  /*Configure GPIO pins : PB1 PB2 */
  GPIO_InitStruct.Pin = GPIO_PIN_1|GPIO_PIN_2;
  GPIO_InitStruct.Mode = GPIO_MODE_OUTPUT_PP;
  GPIO_InitStruct.Pull = GPIO_NOPULL;
  GPIO_InitStruct.Speed = GPIO_SPEED_FREQ_LOW;
  HAL_GPIO_Init(GPIOB, &GPIO_InitStruct);

  /*Configure GPIO pins : PB4 PB5 PB6 */
  GPIO_InitStruct.Pin = GPIO_PIN_4|GPIO_PIN_5|GPIO_PIN_6;
  GPIO_InitStruct.Mode = GPIO_MODE_INPUT;
  GPIO_InitStruct.Pull = GPIO_NOPULL;
  HAL_GPIO_Init(GPIOB, &GPIO_InitStruct);

  /* USER CODE BEGIN MX_GPIO_Init_2 */
  /* RTD button (PB14) configured here to persist across CubeMX generation */
  GPIO_InitStruct.Pin = PIN_RTD_BUTTON;
  GPIO_InitStruct.Mode = GPIO_MODE_INPUT;
  GPIO_InitStruct.Pull = PIN_RTD_BUTTON_PULL;
  HAL_GPIO_Init(PIN_RTD_BUTTON_PORT, &GPIO_InitStruct);
  /* USER CODE END MX_GPIO_Init_2 */
}

void Error_Handler(void)
{
  /* USER CODE BEGIN Error_Handler_Debug */
	__disable_irq();
	/* Inverter enable is a CAN bit, so going quiet lets its command timeout drop it */
	HAL_GPIO_WritePin(PIN_RTD_LIGHT_PORT, PIN_RTD_LIGHT, GPIO_PIN_RESET);
	HAL_GPIO_WritePin(PIN_RTD_BUZZER_PORT, PIN_RTD_BUZZER, GPIO_PIN_RESET);
	/* Retry from scratch, reported as RESET_CAUSE_SOFT on the way back up */
	NVIC_SystemReset();
  /* USER CODE END Error_Handler_Debug */
}
